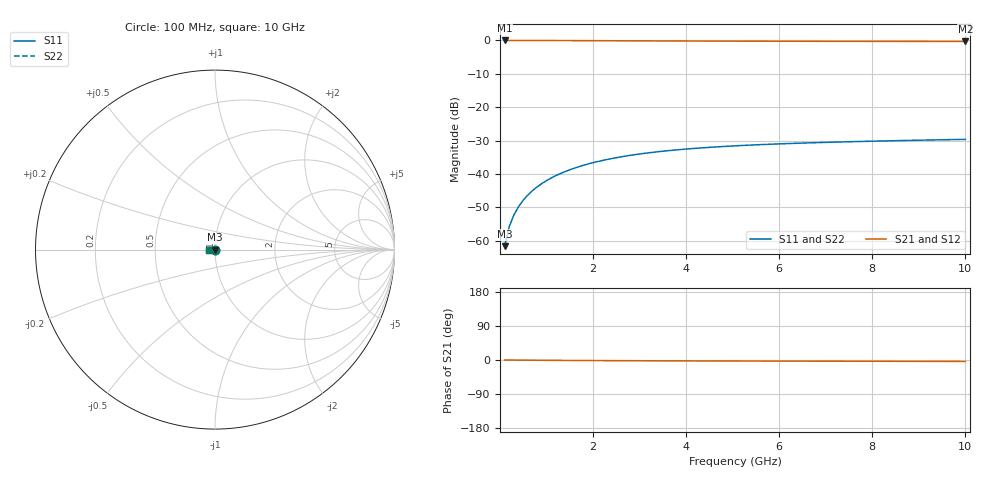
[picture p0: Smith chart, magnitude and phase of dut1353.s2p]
! Touchstone file exported from HFSS 2024.1.0
!  File:  C:/UserFiles/LocalFiles/RDL_TSV_Batchsim/temp_TSV1_1353_1780377529.aedt
!  Generated:  01:24:09 PM Jun  2, 2026
!  Design:  TSV1
!  Project:  temp_TSV1_1353_1780377529
!  Setup:  Setup1
!  Solution:  Sweep
! Variables:
!  dtsv = 8.55um
!  hbump = 3um
!  htsv = 57.96um
!  lrdl = 252.1521522um
!  p = 40
!  p1 = 40.14um
!  t = 500um
!  trdl = 3um
!  wrdl = 24.89489489um
# GHz S MA R 50.000000
! Terminal data exported
! Port[1] = TSV22_T1
! Port[2] = TSV22_T2
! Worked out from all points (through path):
!   100 points, 100 MHz to 10 GHz, reference 50 ohm
!   highest |S21| = 0.00 dB at 100 MHz (marker M1); lowest = -0.3 dB at 10 GHz (marker M2)
!   lowest |S11| = -61.6 dB at 100 MHz (marker M3), VSWR 1.00, Z = 50 - j0.0821 ohm
!   |S11| at or under -10 dB: start of sweep to end of sweep
!   |S22| runs from -61.6 to -29.6 dB; largest |S21 - S12| = 6.6e-15
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0.1  0.0008333 -80.0  0.9998 -0.1  0.9998 -0.1  0.0008333 -80.0
! Gamma 0 0 0 0
! Port Impedance 50 0 50 0
0.2  0.00164 -87.4  0.9997 -0.2  0.9997 -0.2  0.00164 -87.4
0.3  0.00245 -91.0  0.9996 -0.3  0.9996 -0.3  0.00245 -91.0
0.4  0.003259 -93.6  0.9994 -0.3  0.9994 -0.3  0.003259 -93.6
0.5  0.004064 -95.7  0.9992 -0.4  0.9992 -0.4  0.004064 -95.7
0.6  0.004863 -97.7  0.999 -0.5  0.999 -0.5  0.004863 -97.7
0.7  0.005655 -99.5  0.9986 -0.6  0.9986 -0.6  0.005655 -99.5
0.8  0.006439 -101.3  0.9983 -0.7  0.9983 -0.7  0.006439 -101.3
0.9  0.007213 -103.0  0.9979 -0.7  0.9979 -0.7  0.007213 -103.0
1.1  0.008726 -106.2  0.9971 -0.9  0.9971 -0.9  0.008726 -106.2
1.4  0.0109 -110.7  0.9956 -1.1  0.9956 -1.1  0.0109 -110.7
1.6  0.01226 -113.6  0.9945 -1.2  0.9945 -1.2  0.01226 -113.6
1.8  0.01357 -116.4  0.9934 -1.4  0.9934 -1.4  0.01357 -116.4
2.1  0.01539 -120.3  0.9917 -1.5  0.9917 -1.5  0.01539 -120.3
2.5  0.01759 -125.2  0.9893 -1.7  0.9893 -1.7  0.01759 -125.2
2.9  0.01953 -129.8  0.987 -1.9  0.987 -1.9  0.01953 -129.8
3.4  0.02161 -135.0  0.9842 -2.1  0.9842 -2.1  0.02161 -135.0
4.2  0.02428 -142.2  0.9802 -2.4  0.9802 -2.4  0.02428 -142.2
5.1  0.02656 -149.0  0.9765 -2.6  0.9765 -2.6  0.02656 -149.0
6.7  0.0294 -158.8  0.9715 -3.0  0.9715 -3.0  0.0294 -158.8
8.4  0.03149 -167.0  0.968 -3.4  0.968 -3.4  0.03149 -167.0
10  0.03307 -173.5  0.9656 -3.8  0.9656 -3.8  0.03307 -173.5
